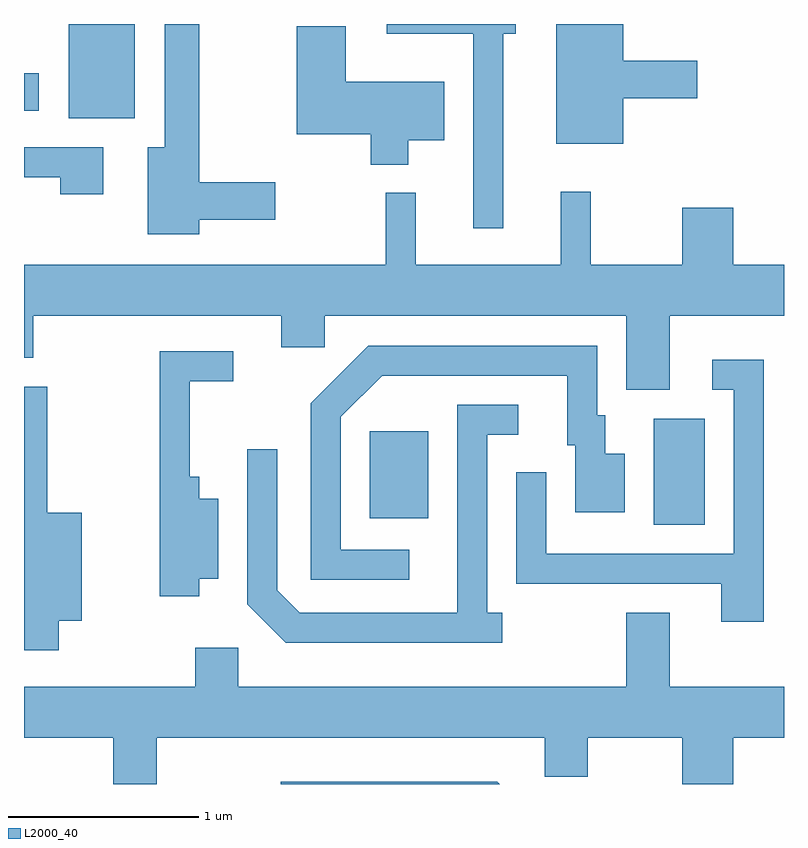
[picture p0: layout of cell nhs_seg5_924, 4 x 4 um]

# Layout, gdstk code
import gdstk
lib = gdstk.Library(unit=1e-6, precision=1e-09)
def R(c, l, rs):  # rectangles x0, y0, x1, y1
    for r in rs: c.add(gdstk.rectangle(r[:2], r[2:], *l))
def P(c, l, *ps):  # polygons
    for p in ps: c.add(gdstk.Polygon(p, *l))
L2000_40 = (2000, 40)

nhs_seg5_924 = lib.new_cell('nhs_seg5_924')
R(nhs_seg5_924, L2000_40, [(214.926,1493.436,215.194,1493.994), (213.431,1493.471,213.739,1493.929), (211.846,1495.576,212.194,1496.072), (211.611,1495.616,211.689,1495.814)])
P(nhs_seg5_924, L2000_40, [(212.534,1495.041),(212.934,1495.041),(212.934,1495.239),(212.534,1495.239),(212.534,1496.072),(212.351,1496.072),(212.351,1495.424),(212.261,1495.424),(212.261,1494.966),(212.534,1494.966)],
  [(214.764,1495.681),(215.154,1495.681),(215.154,1495.879),(214.764,1495.879),(214.764,1496.072),(214.411,1496.072),(214.411,1495.441),(214.764,1495.441)],
  [(214.134,1496.021),(214.199,1496.021),(214.199,1496.072),(213.521,1496.072),(213.521,1496.021),(213.976,1496.021),(213.976,1494.998),(214.134,1494.998)],
  [(213.634,1495.461),(213.824,1495.461),(213.824,1495.769),(213.304,1495.769),(213.304,1496.059),(213.046,1496.059),(213.046,1495.491),(213.436,1495.491),(213.436,1495.331),(213.634,1495.331)],
  [(212.029,1495.424),(211.611,1495.424),(211.611,1495.266),(211.801,1495.266),(211.801,1495.176),(212.029,1495.176)],
  [(215.009,1494.536),(215.611,1494.536),(215.611,1494.804),(215.344,1494.804),(215.344,1495.104),(215.076,1495.104),(215.076,1494.804),(214.594,1494.804),(214.594,1495.188),(214.436,1495.188),(214.436,1494.804),(213.674,1494.804),(213.674,1495.183),(213.516,1495.183),(213.516,1494.804),(211.611,1494.804),(211.611,1494.316),(211.659,1494.316),(211.659,1494.536),(212.966,1494.536),(212.966,1494.371),(213.194,1494.371),(213.194,1494.536),(214.781,1494.536),(214.781,1494.146),(215.009,1494.146)],
  [(213.638,1493.304),(213.279,1493.304),(213.279,1494.004),(213.497,1494.221),(214.471,1494.221),(214.471,1493.856),(214.511,1493.856),(214.511,1493.501),(214.774,1493.501),(214.774,1493.809),(214.669,1493.809),(214.669,1494.014),(214.629,1494.014),(214.629,1494.379),(213.424,1494.379),(213.121,1494.077),(213.121,1493.146),(213.638,1493.146)],
  [(212.534,1493.151),(212.634,1493.151),(212.634,1493.574),(212.534,1493.574),(212.534,1493.689),(212.484,1493.689),(212.484,1494.191),(212.713,1494.191),(212.713,1494.349),(212.326,1494.349),(212.326,1493.061),(212.534,1493.061)],
  [(215.504,1494.304),(215.233,1494.304),(215.233,1494.146),(215.346,1494.146),(215.346,1493.284),(214.359,1493.284),(214.359,1493.713),(214.201,1493.713),(214.201,1493.126),(215.281,1493.126),(215.281,1492.926),(215.504,1492.926)],
  [(211.794,1492.931),(211.914,1492.931),(211.914,1493.499),(211.734,1493.499),(211.734,1494.164),(211.611,1494.164),(211.611,1492.776),(211.794,1492.776)],
  [(214.128,1492.974),(214.049,1492.974),(214.049,1493.911),(214.213,1493.911),(214.213,1494.069),(213.891,1494.069),(213.891,1492.974),(213.062,1492.974),(212.944,1493.092),(212.944,1493.833),(212.786,1493.833),(212.786,1493.019),(212.989,1492.816),(214.128,1492.816)],
  [(212.309,1492.316),(214.351,1492.316),(214.351,1492.111),(214.579,1492.111),(214.579,1492.316),(215.076,1492.316),(215.076,1492.072),(215.344,1492.072),(215.344,1492.316),(215.611,1492.316),(215.611,1492.584),(215.009,1492.584),(215.009,1492.974),(214.781,1492.974),(214.781,1492.584),(212.739,1492.584),(212.739,1492.789),(212.511,1492.789),(212.511,1492.584),(211.611,1492.584),(211.611,1492.316),(212.081,1492.316),(212.081,1492.072),(212.309,1492.072)],
  [(214.102,1492.084),(212.963,1492.084),(212.963,1492.072),(214.114,1492.072)])

lib.write_gds('nhs_seg5_924.gds')
